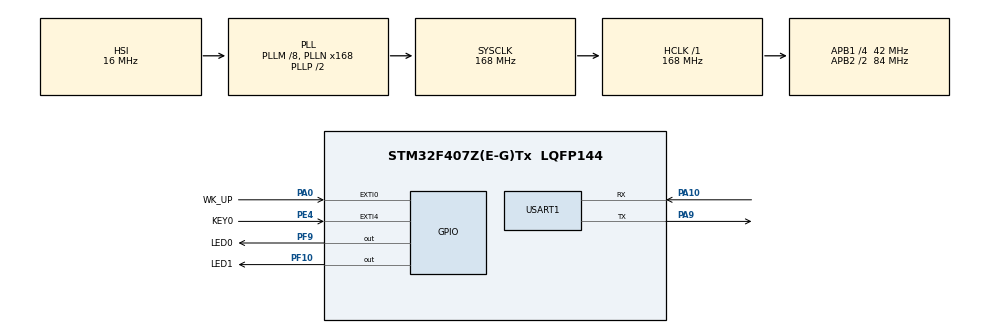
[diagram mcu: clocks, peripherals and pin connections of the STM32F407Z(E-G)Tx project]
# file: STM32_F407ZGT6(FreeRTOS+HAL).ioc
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Dma.Request0=USART1_RX
Dma.Request1=USART1_TX
Dma.USART1_RX.0.Direction=DMA_PERIPH_TO_MEMORY
Dma.USART1_RX.0.FIFOMode=DMA_FIFOMODE_DISABLE
Dma.USART1_RX.0.Instance=DMA2_Stream2
Dma.USART1_RX.0.MemDataAlignment=DMA_MDATAALIGN_BYTE
Dma.USART1_RX.0.MemInc=DMA_MINC_ENABLE
Dma.USART1_RX.0.Mode=DMA_NORMAL
Dma.USART1_RX.0.PeriphDataAlignment=DMA_PDATAALIGN_BYTE
Dma.USART1_RX.0.PeriphInc=DMA_PINC_DISABLE
Dma.USART1_RX.0.Priority=DMA_PRIORITY_MEDIUM
Dma.USART1_TX.1.Direction=DMA_MEMORY_TO_PERIPH
Dma.USART1_TX.1.FIFOMode=DMA_FIFOMODE_DISABLE
Dma.USART1_TX.1.Instance=DMA2_Stream7
Dma.USART1_TX.1.MemDataAlignment=DMA_MDATAALIGN_BYTE
Dma.USART1_TX.1.MemInc=DMA_MINC_ENABLE
Dma.USART1_TX.1.Mode=DMA_NORMAL
Dma.USART1_TX.1.PeriphDataAlignment=DMA_PDATAALIGN_BYTE
Dma.USART1_TX.1.PeriphInc=DMA_PINC_DISABLE
Dma.USART1_TX.1.Priority=DMA_PRIORITY_MEDIUM
FREERTOS.BinarySemaphores01=Usart1_Receive_BinSemaphore,Dynamic,NULL
FREERTOS.INCLUDE_xTimerPendFunctionCall=1
FREERTOS.Tasks01=defaultTask,0,128,StartDefaultTask,Default,NULL,Dynamic,NULL,NULL;LED_TASK,0,128,led_task,Default,NULL,Dynamic,NULL,NULL;KEY_TASK,1,128,key_task,Default,NULL,Dynamic,NULL,NULL;USART1_TASK,2,256,usart1_task,Default,NULL,Dynamic,NULL,NULL
FREERTOS.configGENERATE_RUN_TIME_STATS=1
FREERTOS.configTIMER_QUEUE_LENGTH=20
FREERTOS.configTIMER_TASK_PRIORITY=5
FREERTOS.configUSE_CO_ROUTINES=1
FREERTOS.configUSE_IDLE_HOOK=1
FREERTOS.configUSE_NEWLIB_REENTRANT=0
FREERTOS.configUSE_STATS_FORMATTING_FUNCTIONS=1
FREERTOS.configUSE_TICK_HOOK=1
FREERTOS.configUSE_TIMERS=1
FREERTOS.configUSE_TRACE_FACILITY=1
Mcu.Family=STM32F4
Mcu.Name=STM32F407Z(E-G)Tx
Mcu.Package=LQFP144
NVIC.DMA2_Stream2_IRQn=true\:6\:0\:true\:false\:true\:false\:false\:true
NVIC.DMA2_Stream7_IRQn=true\:6\:0\:true\:false\:true\:true\:false\:true
NVIC.EXTI0_IRQn=true\:8\:0\:true\:false\:true\:false\:true\:true
NVIC.EXTI4_IRQn=true\:8\:0\:true\:false\:true\:false\:true\:true
NVIC.PriorityGroup=NVIC_PRIORITYGROUP_4
NVIC.TIM6_DAC_IRQn=true\:0\:0\:false\:false\:true\:false\:false\:true
NVIC.TimeBase=TIM6_DAC_IRQn
NVIC.TimeBaseIP=TIM6
NVIC.USART1_IRQn=true\:5\:0\:true\:false\:true\:true\:true\:true
PA0-WKUP.GPIO_Label=WK_UP
PA0-WKUP.GPIO_ModeDefaultEXTI=GPIO_MODE_IT_RISING
PA0-WKUP.GPIO_PuPd=GPIO_PULLDOWN
PA0-WKUP.Signal=GPXTI0
PA10.Mode=Asynchronous
PA10.Signal=USART1_RX
PA13.Mode=Serial_Wire
PA13.Signal=SYS_JTMS-SWDIO
PA14.Mode=Serial_Wire
PA14.Signal=SYS_JTCK-SWCLK
PA9.Mode=Asynchronous
PA9.Signal=USART1_TX
PE4.GPIO_Label=KEY0
PE4.GPIO_PuPd=GPIO_PULLDOWN
PE4.Signal=GPXTI4
PF10.GPIO_Label=LED1
PF10.PinState=GPIO_PIN_SET
PF10.Signal=GPIO_Output
PF9.GPIO_Label=LED0
PF9.PinState=GPIO_PIN_SET
PF9.Signal=GPIO_Output
PH0-OSC_IN.Mode=HSE-External-Oscillator
PH0-OSC_IN.Signal=RCC_OSC_IN
PH1-OSC_OUT.Mode=HSE-External-Oscillator
PH1-OSC_OUT.Signal=RCC_OSC_OUT
ProjectManager.HeapSize=0x200
ProjectManager.StackSize=0x400
ProjectManager.TargetToolchain=MDK-ARM V5.27
RCC.48MHZClocksFreq_Value=84000000
RCC.AHBFreq_Value=168000000
RCC.APB1CLKDivider=RCC_HCLK_DIV4
RCC.APB1Freq_Value=42000000
RCC.APB1TimFreq_Value=84000000
RCC.APB2CLKDivider=RCC_HCLK_DIV2
RCC.APB2Freq_Value=84000000
RCC.APB2TimFreq_Value=168000000
RCC.CortexFreq_Value=168000000
RCC.HCLKFreq_Value=168000000
RCC.HSE_VALUE=25000000
RCC.HSI_VALUE=16000000
RCC.LSE_VALUE=32768
RCC.PLLM=8
RCC.PLLN=168
RCC.SYSCLKFreq_VALUE=168000000
RCC.SYSCLKSource=RCC_SYSCLKSOURCE_PLLCLK
RCC.VCOOutputFreq_Value=336000000
USART1.VirtualMode=VM_ASYNC
VP_FREERTOS_VS_CMSIS_V1.Mode=CMSIS_V1
VP_SYS_VS_tim6.Mode=TIM6
board=custom

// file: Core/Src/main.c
/* USER CODE BEGIN Header */
/**
  ******************************************************************************
  * @file           : main.c
  * @brief          : Main program body
  ******************************************************************************
  * @attention
  *
  * <h2><center>&copy; Copyright (c) 2022 STMicroelectronics.
  * All rights reserved.</center></h2>
  *
  * This software component is licensed by ST under Ultimate Liberty license
  * SLA0044, the "License"; You may not use this file except in compliance with
  * the License. You may obtain a copy of the License at:
  *                             www.st.com/SLA0044
  *
  ******************************************************************************
  */
/* USER CODE END Header */
#include "main.h"
#include "cmsis_os.h"
#include "dma.h"
#include "usart.h"
#include "gpio.h"

/* USER CODE BEGIN Includes */
#include "string.h"
#include "stdio.h"
#include "delay.h"
#include "usart1.h"
/* USER CODE END Includes */

void SystemClock_Config(void);
void MX_FREERTOS_Init(void);

int main(void)
{

  /* MCU Configuration--------------------------------------------------------*/

  /* Reset of all peripherals, Initializes the Flash interface and the Systick. */
  HAL_Init();

  /* Configure the system clock */
  SystemClock_Config();

  /* Initialize all configured peripherals */
  MX_GPIO_Init();
  MX_DMA_Init();
  MX_USART1_UART_Init();
  /* USER CODE BEGIN 2 */

  HAL_UART_Receive_DMA(&huart1, (uint8_t*)USART_RX_BUF, USART_REC_LEN);     //设置DMA传输，将串口1的数据搬运到recvive_buff中，每次255个字节
  /* USER CODE END 2 */

  /* Call init function for freertos objects (in freertos.c) */
  MX_FREERTOS_Init();
  /* Start scheduler */
  osKernelStart();

  /* We should never get here as control is now taken by the scheduler */
  /* Infinite loop */
  while (1)
  {

  }
}

void SystemClock_Config(void)
{
  RCC_OscInitTypeDef RCC_OscInitStruct = {0};
  RCC_ClkInitTypeDef RCC_ClkInitStruct = {0};

  /** Configure the main internal regulator output voltage
  */
  __HAL_RCC_PWR_CLK_ENABLE();
  __HAL_PWR_VOLTAGESCALING_CONFIG(PWR_REGULATOR_VOLTAGE_SCALE1);
  /** Initializes the RCC Oscillators according to the specified parameters
  * in the RCC_OscInitTypeDef structure.
  */
  RCC_OscInitStruct.OscillatorType = RCC_OSCILLATORTYPE_HSI;
  RCC_OscInitStruct.HSIState = RCC_HSI_ON;
  RCC_OscInitStruct.HSICalibrationValue = RCC_HSICALIBRATION_DEFAULT;
  RCC_OscInitStruct.PLL.PLLState = RCC_PLL_ON;
  RCC_OscInitStruct.PLL.PLLSource = RCC_PLLSOURCE_HSI;
  RCC_OscInitStruct.PLL.PLLM = 8;
  RCC_OscInitStruct.PLL.PLLN = 168;
  RCC_OscInitStruct.PLL.PLLP = RCC_PLLP_DIV2;
  RCC_OscInitStruct.PLL.PLLQ = 4;
  if (HAL_RCC_OscConfig(&RCC_OscInitStruct) != HAL_OK)
  {
    Error_Handler();
  }
  /** Initializes the CPU, AHB and APB buses clocks
  */
  RCC_ClkInitStruct.ClockType = RCC_CLOCKTYPE_HCLK|RCC_CLOCKTYPE_SYSCLK
                              |RCC_CLOCKTYPE_PCLK1|RCC_CLOCKTYPE_PCLK2;
  RCC_ClkInitStruct.SYSCLKSource = RCC_SYSCLKSOURCE_PLLCLK;
  RCC_ClkInitStruct.AHBCLKDivider = RCC_SYSCLK_DIV1;
  RCC_ClkInitStruct.APB1CLKDivider = RCC_HCLK_DIV4;
  RCC_ClkInitStruct.APB2CLKDivider = RCC_HCLK_DIV2;

  if (HAL_RCC_ClockConfig(&RCC_ClkInitStruct, FLASH_LATENCY_5) != HAL_OK)
  {
    Error_Handler();
  }
}

 /**
  * @brief  Period elapsed callback in non blocking mode
  * @note   This function is called  when TIM6 interrupt took place, inside
  * HAL_TIM_IRQHandler(). It makes a direct call to HAL_IncTick() to increment
  * a global variable "uwTick" used as application time base.
  * @param  htim : TIM handle
  * @retval None
  */
void HAL_TIM_PeriodElapsedCallback(TIM_HandleTypeDef *htim)
{
  if (htim->Instance == TIM6) {
    HAL_IncTick();
  }
}

void Error_Handler(void)
{
  __disable_irq();
  while (1)
  {
  }
}

/************************ (C) COPYRIGHT STMicroelectronics *****END OF FILE****/

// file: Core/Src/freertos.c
/* USER CODE BEGIN Header */
/**
 ******************************************************************************
 * File Name          : freertos.c
 * Description        : Code for freertos applications
 ******************************************************************************
 * @attention
 *
 * <h2><center>&copy; Copyright (c) 2022 STMicroelectronics.
 * All rights reserved.</center></h2>
 *
 * This software component is licensed by ST under Ultimate Liberty license
 * SLA0044, the "License"; You may not use this file except in compliance with
 * the License. You may obtain a copy of the License at:
 *                             www.st.com/SLA0044
 *
 ******************************************************************************
 */
/* USER CODE END Header */

#include "FreeRTOS.h"
#include "task.h"
#include "main.h"
#include "cmsis_os.h"

/* USER CODE BEGIN Includes */
#include "led.h"
#include "key.h"
#include "usart.h"
#include "string.h"
#include "delay.h"
#include "usart1.h"
// #include "event_groups.h"
/* USER CODE END Includes */

/* USER CODE BEGIN PTD */
EventGroupHandle_t Key_EventGroupHandle;
/* USER CODE END PTD */

osThreadId defaultTaskHandle;
osThreadId LED_TASKHandle;
osThreadId KEY_TASKHandle;
osThreadId USART1_TASKHandle;
osSemaphoreId Usart1_Receive_BinSemaphoreHandle;

void StartDefaultTask(void const *argument);
void led_task(void const *argument);
void key_task(void const *argument);
void usart1_task(void const *argument);

void MX_FREERTOS_Init(void); /* (MISRA C 2004 rule 8.1) */

/* GetIdleTaskMemory prototype (linked to static allocation support) */
void vApplicationGetIdleTaskMemory(StaticTask_t **ppxIdleTaskTCBBuffer, StackType_t **ppxIdleTaskStackBuffer, uint32_t *pulIdleTaskStackSize);

/* GetTimerTaskMemory prototype (linked to static allocation support) */
void vApplicationGetTimerTaskMemory(StaticTask_t **ppxTimerTaskTCBBuffer, StackType_t **ppxTimerTaskStackBuffer, uint32_t *pulTimerTaskStackSize);

/* Hook prototypes */
void configureTimerForRunTimeStats(void);
unsigned long getRunTimeCounterValue(void);
void vApplicationIdleHook(void);
void vApplicationTickHook(void);

/* USER CODE BEGIN 1 */
/* Functions needed when configGENERATE_RUN_TIME_STATS is on */
__weak void configureTimerForRunTimeStats(void)
{
}

__weak unsigned long getRunTimeCounterValue(void)
{
    return 0;
}
/* USER CODE END 1 */

/* USER CODE BEGIN 2 */
__weak void vApplicationIdleHook(void)
{
    /* vApplicationIdleHook() will only be called if configUSE_IDLE_HOOK is set
    to 1 in FreeRTOSConfig.h. It will be called on each iteration of the idle
    task. It is essential that code added to this hook function never attempts
    to block in any way (for example, call xQueueReceive() with a block time
    specified, or call vTaskDelay()). If the application makes use of the
    vTaskDelete() API function (as this demo application does) then it is also
    important that vApplicationIdleHook() is permitted to return to its calling
    function, because it is the responsibility of the idle task to clean up
    memory allocated by the kernel to any task that has since been deleted. */
}
/* USER CODE END 2 */

/* USER CODE BEGIN 3 */
__weak void vApplicationTickHook(void)
{
    /* This function will be called by each tick interrupt if
    configUSE_TICK_HOOK is set to 1 in FreeRTOSConfig.h. User code can be
    added here, but the tick hook is called from an interrupt context, so
    code must not attempt to block, and only the interrupt safe FreeRTOS API
    functions can be used (those that end in FromISR()). */
}
/* USER CODE END 3 */

/* USER CODE BEGIN GET_IDLE_TASK_MEMORY */
static StaticTask_t xIdleTaskTCBBuffer;
static StackType_t xIdleStack[configMINIMAL_STACK_SIZE];

void vApplicationGetIdleTaskMemory(StaticTask_t **ppxIdleTaskTCBBuffer, StackType_t **ppxIdleTaskStackBuffer, uint32_t *pulIdleTaskStackSize)
{
    *ppxIdleTaskTCBBuffer = &xIdleTaskTCBBuffer;
    *ppxIdleTaskStackBuffer = &xIdleStack[0];
    *pulIdleTaskStackSize = configMINIMAL_STACK_SIZE;
    /* place for user code */
}
/* USER CODE END GET_IDLE_TASK_MEMORY */

/* USER CODE BEGIN GET_TIMER_TASK_MEMORY */
static StaticTask_t xTimerTaskTCBBuffer;
static StackType_t xTimerStack[configTIMER_TASK_STACK_DEPTH];

void vApplicationGetTimerTaskMemory(StaticTask_t **ppxTimerTaskTCBBuffer, StackType_t **ppxTimerTaskStackBuffer, uint32_t *pulTimerTaskStackSize)
{
    *ppxTimerTaskTCBBuffer = &xTimerTaskTCBBuffer;
    *ppxTimerTaskStackBuffer = &xTimerStack[0];
    *pulTimerTaskStackSize = configTIMER_TASK_STACK_DEPTH;
    /* place for user code */
}
/* USER CODE END GET_TIMER_TASK_MEMORY */

void MX_FREERTOS_Init(void)
{

    /* Create the semaphores(s) */
    /* definition and creation of Usart1_Receive_BinSemaphore */
    osSemaphoreDef(Usart1_Receive_BinSemaphore);
    Usart1_Receive_BinSemaphoreHandle = osSemaphoreCreate(osSemaphore(Usart1_Receive_BinSemaphore), 1);

    /* USER CODE BEGIN RTOS_SEMAPHORES */
    xSemaphoreTake(Usart1_Receive_BinSemaphoreHandle, portMAX_DELAY); // read semaphore
                                                                      /* add semaphores, ... */
    /* USER CODE END RTOS_SEMAPHORES */

    /* Create the thread(s) */
    /* definition and creation of defaultTask */
    osThreadDef(defaultTask, StartDefaultTask, osPriorityNormal, 0, 128);
    defaultTaskHandle = osThreadCreate(osThread(defaultTask), NULL);

    /* definition and creation of LED_TASK */
    osThreadDef(LED_TASK, led_task, osPriorityNormal, 0, 128);
    LED_TASKHandle = osThreadCreate(osThread(LED_TASK), NULL);

    /* definition and creation of KEY_TASK */
    osThreadDef(KEY_TASK, key_task, osPriorityAboveNormal, 0, 128);
    KEY_TASKHandle = osThreadCreate(osThread(KEY_TASK), NULL);

    /* definition and creation of USART1_TASK */
    osThreadDef(USART1_TASK, usart1_task, osPriorityHigh, 0, 256);
    USART1_TASKHandle = osThreadCreate(osThread(USART1_TASK), NULL);

    /* USER CODE BEGIN RTOS_THREADS */
    /* add threads, ... */
    // Create event flag group
    Key_EventGroupHandle = xEventGroupCreate();
    /* USER CODE END RTOS_THREADS */
}

void StartDefaultTask(void const *argument)
{
    for (;;)
    {
        osDelay(1);
    }
}

void led_task(void const *argument)
{
    /* USER CODE BEGIN led_task */
    /* Infinite loop */
    for (;;)
    {
        LED0_TOGGLE;
        // osDelay(500);
        delay_ms(500);
    }
    /* USER CODE END led_task */
}

void key_task(void const *argument)
{
    /* USER CODE BEGIN key_task */
    /* Infinite loop */
    EventBits_t key_eventvalue;
    char str[] = "my name is yyh\r\n";
    for (;;)
    {
        key_eventvalue = xEventGroupWaitBits(Key_EventGroupHandle, 1 << 0 | 1 << 1, pdTRUE, pdFALSE, portMAX_DELAY);
        if (key_eventvalue != 0)
        {
            switch (key_eventvalue)
            {
            case 1 << 0:
                // HAL_UART_Transmit(&huart1, str, sizeof(str), );
                // HAL_UART_Transmit_DMA(&huart1, str, sizeof(str));
                u1_printf("%s\r\n", str);
                // printf("%s\r\n", str);
                LED1_TOGGLE;
                break;
            case 1 << 1:
                printf("wk_up\r\n");
                break;
            default:
                break;
            }
        }
        LED1_TOGGLE;
        // osDelay(40);
        delay_ms(40);
    }
    /* USER CODE END key_task */
}

void usart1_task(void const *argument)
{
    /* USER CODE BEGIN usart1_task */
    /* Infinite loop */
    uint8_t len = 0;
    extern DMA_HandleTypeDef hdma_usart1_rx;
    for (;;)
    {
        xSemaphoreTake(Usart1_Receive_BinSemaphoreHandle, portMAX_DELAY);
        // len = USART_REC_LEN - __HAL_DMA_GET_COUNTER(&hdma_usart1_rx); // get lenth of the data
        printf("data:%s len:%d\r\n", USART_RX_BUF, len);
        memset(USART_RX_BUF, '\0', sizeof(USART_RX_BUF)); // initialization buf
        USART_RX_STA = 0;
        delay_ms(1);
    }
    /* USER CODE END usart1_task */
}

/************************ (C) COPYRIGHT STMicroelectronics *****END OF FILE****/
